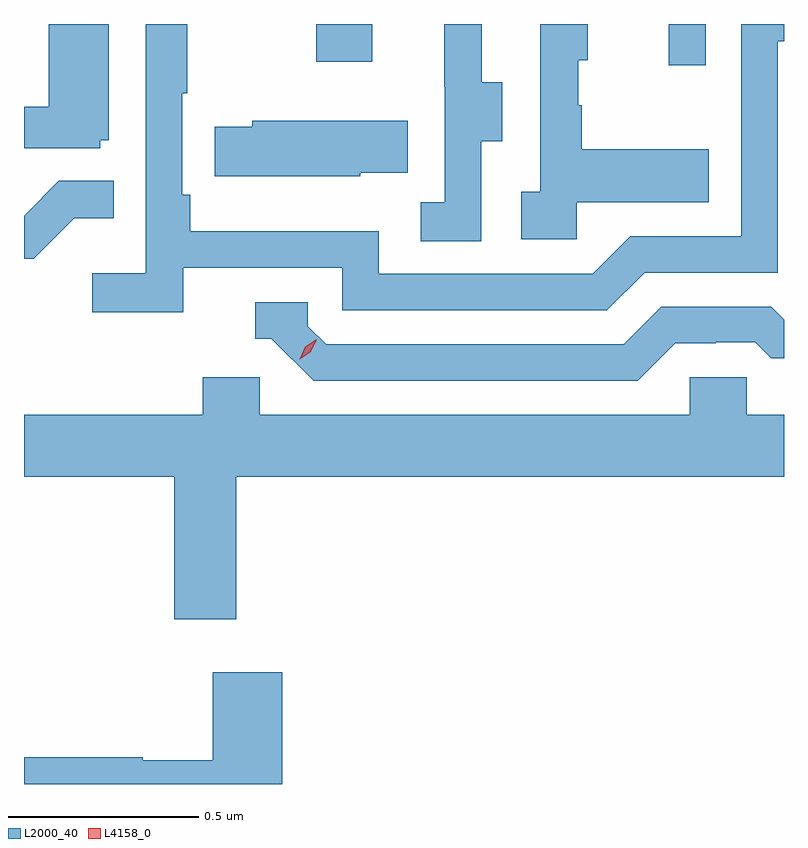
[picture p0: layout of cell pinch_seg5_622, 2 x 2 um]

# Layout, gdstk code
import gdstk
lib = gdstk.Library(unit=1e-6, precision=1e-09)
def R(c, l, rs):  # rectangles x0, y0, x1, y1
    for r in rs: c.add(gdstk.rectangle(r[:2], r[2:], *l))
def P(c, l, *ps):  # polygons
    for p in ps: c.add(gdstk.Polygon(p, *l))
L2000_40 = (2000, 40)
L4158_0 = (4158, 0)

pinch_seg5_622 = lib.new_cell('pinch_seg5_622')
R(pinch_seg5_622, L2000_40, [(1041.434,856.512,1041.531,856.62), (1040.506,856.521,1040.653,856.62)])
P(pinch_seg5_622, L2000_40, [(1040.94,856.312),(1040.995,856.312),(1040.995,856.467),(1040.941,856.467),(1040.941,856.62),(1040.843,856.62),(1040.843,856.455),(1040.844,856.455),(1040.844,856.151),(1040.781,856.151),(1040.781,856.048),(1040.94,856.048)],
  [(1040.156,855.978),(1040.574,855.978),(1040.574,855.867),(1041.271,855.867),(1041.37,855.966),(1041.72,855.966),(1041.72,856.575),(1041.737,856.575),(1041.737,856.62),(1041.624,856.62),(1041.624,856.062),(1041.333,856.062),(1041.234,855.963),(1040.67,855.963),(1040.67,856.075),(1040.174,856.075),(1040.174,856.171),(1040.154,856.171),(1040.154,856.438),(1040.167,856.438),(1040.167,856.62),(1040.058,856.62),(1040.058,855.964),(1039.917,855.964),(1039.917,855.862),(1040.156,855.862)],
  [(1039.938,856.314),(1039.96,856.314),(1039.96,856.62),(1039.802,856.62),(1039.802,856.402),(1039.737,856.402),(1039.737,856.293),(1039.938,856.293)],
  [(1041.192,856.151),(1041.539,856.151),(1041.539,856.291),(1041.205,856.291),(1041.205,856.406),(1041.195,856.406),(1041.195,856.524),(1041.22,856.524),(1041.22,856.62),(1041.096,856.62),(1041.096,856.178),(1041.045,856.178),(1041.045,856.053),(1041.192,856.053)],
  [(1040.622,856.229),(1040.747,856.229),(1040.747,856.366),(1040.337,856.366),(1040.337,856.35),(1040.239,856.35),(1040.239,856.22),(1040.622,856.22)],
  [(1039.869,856.109),(1039.973,856.109),(1039.973,856.208),(1039.829,856.208),(1039.737,856.116),(1039.737,856.002),(1039.762,856.002)],
  [(1041.451,855.78),(1041.558,855.78),(1041.558,855.783),(1041.661,855.783),(1041.703,855.741),(1041.737,855.741),(1041.737,855.842),(1041.703,855.876),(1041.414,855.876),(1041.315,855.777),(1040.532,855.777),(1040.484,855.825),(1040.484,855.888),(1040.345,855.888),(1040.345,855.792),(1040.388,855.792),(1040.499,855.681),(1041.352,855.681)],
  [(1040.296,855.428),(1041.737,855.428),(1041.737,855.592),(1041.639,855.592),(1041.639,855.69),(1041.489,855.69),(1041.489,855.592),(1040.358,855.592),(1040.358,855.69),(1040.207,855.69),(1040.207,855.592),(1039.737,855.592),(1039.737,855.428),(1040.132,855.428),(1040.132,855.054),(1040.296,855.054)],
  [(1040.417,854.914),(1040.234,854.914),(1040.234,854.683),(1040.05,854.683),(1040.05,854.69),(1039.737,854.69),(1039.737,854.62),(1040.417,854.62)])
P(pinch_seg5_622, L4158_0, [(1040.462,855.738),(1040.462,855.738),(1040.477,855.771),(1040.507,855.791),(1040.508,855.791),(1040.508,855.791),(1040.492,855.758),(1040.462,855.738)])

lib.write_gds('pinch_seg5_622.gds')
